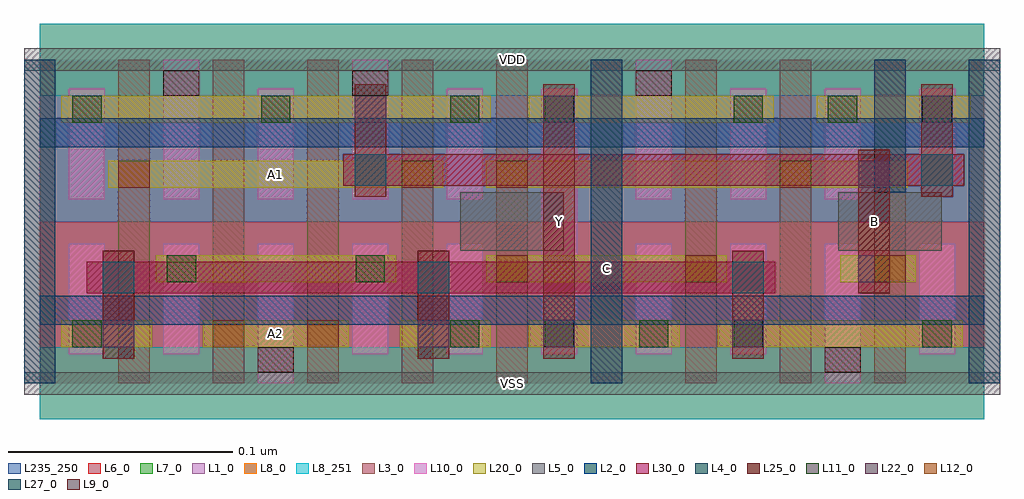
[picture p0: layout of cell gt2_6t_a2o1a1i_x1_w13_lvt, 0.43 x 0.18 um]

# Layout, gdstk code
import gdstk
lib = gdstk.Library(unit=1e-6, precision=5e-10)
def R(c, l, rs):  # rectangles x0, y0, x1, y1
    for r in rs: c.add(gdstk.rectangle(r[:2], r[2:], *l))
def A(c, l, x, y, w, h, nx, ny, dx, dy):  # array of equal rectangles
    R(c, l, [(x+i*dx, y+j*dy, x+i*dx+w, y+j*dy+h) for i in range(nx) for j in range(ny)])
L1_0 = (1, 0)
L2_0 = (2, 0)
L3_0 = (3, 0)
L4_0 = (4, 0)
L5_0 = (5, 0)
L6_0 = (6, 0)
L7_0 = (7, 0)
L8_0 = (8, 0)
L8_251 = (8, 251)
L9_0 = (9, 0)
L10_0 = (10, 0)
L11_0 = (11, 0)
L12_0 = (12, 0)
L20_0 = (20, 0)
L22_0 = (22, 0)
L25_0 = (25, 0)
L27_0 = (27, 0)
L30_0 = (30, 0)
L235_250 = (235, 250)

gt2_6t_a2o1a1i_x1_w13_lv = lib.new_cell('gt2_6t_a2o1a1i_x1_w13_lvt')
R(gt2_6t_a2o1a1i_x1_w13_lv, L1_0, [(0,0.072,0.42,0.144)])
R(gt2_6t_a2o1a1i_x1_w13_lv, L2_0, [(0,0.026,0.42,0.039), (0,0.105,0.42,0.118)])
A(gt2_6t_a2o1a1i_x1_w13_lv, L3_0, -0.007, 0, 0.014, 0.144, 11, 1, 0.042, 0)
R(gt2_6t_a2o1a1i_x1_w13_lv, L4_0, [(-0.007,0,0.007,0.144), (0.245,0,0.259,0.144), (0.413,0,0.427,0.144), (0.371,0.085,0.385,0.144)])
R(gt2_6t_a2o1a1i_x1_w13_lv, L5_0, [(-0.007,-0.005,0.427,0.005), (0.187,0.059,0.233,0.085), (0.355,0.059,0.401,0.085), (-0.007,0.139,0.427,0.149)])
R(gt2_6t_a2o1a1i_x1_w13_lv, L6_0, [(0,0,0.42,0.072)])
R(gt2_6t_a2o1a1i_x1_w13_lv, L7_0, [(0,0.072,0.42,0.144)])
R(gt2_6t_a2o1a1i_x1_w13_lv, L8_0, [(0,-0.016,0.42,0.016), (0,0.128,0.42,0.16)])
R(gt2_6t_a2o1a1i_x1_w13_lv, L8_251, [(0,-0.016,0.42,0.016), (0,0.128,0.42,0.16)])
R(gt2_6t_a2o1a1i_x1_w13_lv, L9_0, [(0.097,0.005,0.113,0.016), (0.349,0.005,0.365,0.016), (0.055,0.128,0.071,0.139), (0.139,0.128,0.155,0.139), (0.265,0.128,0.281,0.139)])
A(gt2_6t_a2o1a1i_x1_w13_lv, L10_0, 0.013, 0.082, 0.016, 0.049, 3, 1, 0.084, 0)
R(gt2_6t_a2o1a1i_x1_w13_lv, L10_0, [(0.097,0,0.113,0.062), (0.349,0,0.365,0.062), (0.013,0.013,0.029,0.062), (0.055,0.013,0.071,0.062), (0.139,0.013,0.155,0.062), (0.181,0.013,0.197,0.062), (0.223,0.013,0.239,0.131), (0.265,0.013,0.281,0.062), (0.307,0.013,0.323,0.062), (0.391,0.013,0.407,0.062), (0.055,0.082,0.071,0.144), (0.139,0.082,0.155,0.144), (0.265,0.082,0.281,0.144), (0.307,0.082,0.323,0.131), (0.349,0.082,0.365,0.131), (0.391,0.1,0.407,0.131)])
A(gt2_6t_a2o1a1i_x1_w13_lv, L11_0, 0.1825, 0.016, 0.013, 0.012, 4, 1, 0.042, 0)
A(gt2_6t_a2o1a1i_x1_w13_lv, L11_0, 0.0145, 0.116, 0.013, 0.012, 3, 1, 0.084, 0)
A(gt2_6t_a2o1a1i_x1_w13_lv, L11_0, 0.3085, 0.116, 0.013, 0.012, 3, 1, 0.042, 0)
R(gt2_6t_a2o1a1i_x1_w13_lv, L11_0, [(0.0145,0.016,0.0275,0.028), (0.3925,0.016,0.4055,0.028), (0.0565,0.045,0.0695,0.057), (0.1405,0.045,0.1535,0.057), (0.2245,0.116,0.2375,0.128)])
A(gt2_6t_a2o1a1i_x1_w13_lv, L12_0, 0.203, 0.045, 0.014, 0.012, 3, 1, 0.084, 0)
R(gt2_6t_a2o1a1i_x1_w13_lv, L12_0, [(0.077,0.016,0.091,0.028), (0.119,0.016,0.133,0.028), (0.035,0.087,0.049,0.099), (0.161,0.087,0.175,0.099), (0.203,0.087,0.217,0.099), (0.329,0.087,0.343,0.099)])
R(gt2_6t_a2o1a1i_x1_w13_lv, L20_0, [(0.0095,0.016,0.05,0.028), (0.0725,0.016,0.1375,0.028), (0.16,0.016,0.2005,0.028), (0.2175,0.016,0.2845,0.028), (0.3015,0.016,0.4105,0.028), (0.0515,0.045,0.1585,0.057), (0.1985,0.045,0.3055,0.057), (0.356,0.045,0.3895,0.057), (0.0305,0.087,0.1795,0.099), (0.1985,0.087,0.386,0.099), (0.0095,0.116,0.2005,0.128), (0.2175,0.116,0.3265,0.128), (0.3455,0.116,0.414,0.128)])
R(gt2_6t_a2o1a1i_x1_w13_lv, L22_0, [(0.028,0.016,0.042,0.028), (0.168,0.016,0.182,0.028), (0.224,0.016,0.238,0.028), (0.308,0.016,0.322,0.028), (0.364,0.045,0.378,0.057), (0.364,0.087,0.378,0.099), (0.14,0.116,0.154,0.128), (0.224,0.116,0.238,0.128), (0.392,0.116,0.406,0.128)])
A(gt2_6t_a2o1a1i_x1_w13_lv, L25_0, 0.028, 0.011, 0.014, 0.048, 3, 1, 0.14, 0)
R(gt2_6t_a2o1a1i_x1_w13_lv, L25_0, [(0.224,0.011,0.238,0.133), (0.364,0.04,0.378,0.104), (0.14,0.083,0.154,0.133), (0.392,0.083,0.406,0.133)])
A(gt2_6t_a2o1a1i_x1_w13_lv, L27_0, 0.028, 0.04, 0.014, 0.014, 3, 1, 0.14, 0)
R(gt2_6t_a2o1a1i_x1_w13_lv, L27_0, [(0.14,0.088,0.154,0.102), (0.392,0.088,0.406,0.102)])
R(gt2_6t_a2o1a1i_x1_w13_lv, L30_0, [(0.021,0.04,0.327,0.054), (0.135,0.088,0.411,0.102)])
R(gt2_6t_a2o1a1i_x1_w13_lv, L235_250, [(0,0,0.42,0.144)])
gt2_6t_a2o1a1i_x1_w13_lv.add(gdstk.Label('VSS', (0.21,0), layer=8, texttype=251))
gt2_6t_a2o1a1i_x1_w13_lv.add(gdstk.Label('VDD', (0.21,0.144), layer=8, texttype=251))
gt2_6t_a2o1a1i_x1_w13_lv.add(gdstk.Label('A1', (0.105,0.093), layer=20, texttype=251))
gt2_6t_a2o1a1i_x1_w13_lv.add(gdstk.Label('A2', (0.105,0.022), layer=20, texttype=251))
gt2_6t_a2o1a1i_x1_w13_lv.add(gdstk.Label('C', (0.252,0.051), layer=20, texttype=251))
gt2_6t_a2o1a1i_x1_w13_lv.add(gdstk.Label('B', (0.371,0.072), layer=25, texttype=251))
gt2_6t_a2o1a1i_x1_w13_lv.add(gdstk.Label('Y', (0.231,0.072), layer=25, texttype=251))

lib.write_gds('gt2_6t_a2o1a1i_x1_w13_lvt.gds')
